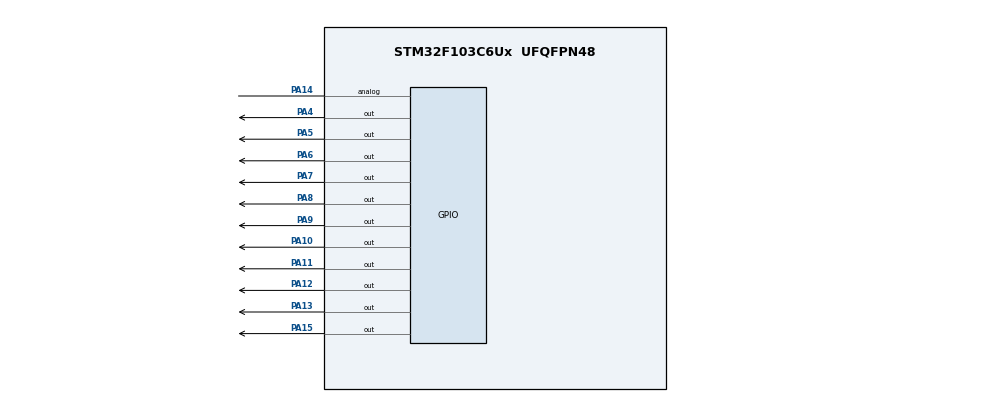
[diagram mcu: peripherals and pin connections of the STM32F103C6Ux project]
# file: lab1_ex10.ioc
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Mcu.Family=STM32F1
Mcu.Name=STM32F103C6Ux
Mcu.Package=UFQFPN48
NVIC.PriorityGroup=NVIC_PRIORITYGROUP_4
PA10.Signal=GPIO_Output
PA11.Signal=GPIO_Output
PA12.Signal=GPIO_Output
PA13.Signal=GPIO_Output
PA14.Signal=GPIO_Analog
PA15.Signal=GPIO_Output
PA4.Signal=GPIO_Output
PA5.Signal=GPIO_Output
PA6.Signal=GPIO_Output
PA7.Signal=GPIO_Output
PA8.Signal=GPIO_Output
PA9.Signal=GPIO_Output
ProjectManager.HeapSize=0x200
ProjectManager.StackSize=0x400
ProjectManager.TargetToolchain=STM32CubeIDE
RCC.APB1Freq_Value=8000000
RCC.APB2Freq_Value=8000000
VP_SYS_VS_ND.Mode=No_Debug
board=custom

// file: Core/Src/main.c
/* USER CODE BEGIN Header */
/**
  ******************************************************************************
  * @file           : main.c
  * @brief          : Main program body
  ******************************************************************************
  * @attention
  *
  * <h2><center>&copy; Copyright (c) 2023 STMicroelectronics.
  * All rights reserved.</center></h2>
  *
  * This software component is licensed by ST under BSD 3-Clause license,
  * the "License"; You may not use this file except in compliance with the
  * License. You may obtain a copy of the License at:
  *                        opensource.org/licenses/BSD-3-Clause
  *
  ******************************************************************************
  */
/* USER CODE END Header */
#include "main.h"

void SystemClock_Config(void);
static void MX_GPIO_Init(void);
void setNumberOnClock(int num);
void clearAllClock();

int main(void)
{

  /* MCU Configuration--------------------------------------------------------*/

  /* Reset of all peripherals, Initializes the Flash interface and the Systick. */
  HAL_Init();

  /* Configure the system clock */
  SystemClock_Config();

  /* Initialize all configured peripherals */
  MX_GPIO_Init();

  /* Infinite loop */
  /* USER CODE BEGIN WHILE */
  int second = 0;
  int minute = 0;
  int hour = 0;
  while (1)
  {
    /* USER CODE END WHILE */
	  clearAllClock();
	  setNumberOnClock(hour);
	  setNumberOnClock(minute);
	  setNumberOnClock(second/5);
	  second++;
	  if(second >= 60 && minute < 60 && hour < 11){
		  second = 0;
		  minute++;
	  }else if(minute >= 60 && hour < 11){
		  minute = 0;
		  hour++;
	  }else if(hour >= 11){
		  hour = 0;
		  minute = 0;
		  second = 0;
	  }
	  HAL_Delay(100);
  }
}

void SystemClock_Config(void)
{
  RCC_OscInitTypeDef RCC_OscInitStruct = {0};
  RCC_ClkInitTypeDef RCC_ClkInitStruct = {0};

  /** Initializes the RCC Oscillators according to the specified parameters
  * in the RCC_OscInitTypeDef structure.
  */
  RCC_OscInitStruct.OscillatorType = RCC_OSCILLATORTYPE_HSI;
  RCC_OscInitStruct.HSIState = RCC_HSI_ON;
  RCC_OscInitStruct.HSICalibrationValue = RCC_HSICALIBRATION_DEFAULT;
  RCC_OscInitStruct.PLL.PLLState = RCC_PLL_NONE;
  if (HAL_RCC_OscConfig(&RCC_OscInitStruct) != HAL_OK)
  {
    Error_Handler();
  }
  /** Initializes the CPU, AHB and APB buses clocks
  */
  RCC_ClkInitStruct.ClockType = RCC_CLOCKTYPE_HCLK|RCC_CLOCKTYPE_SYSCLK
                              |RCC_CLOCKTYPE_PCLK1|RCC_CLOCKTYPE_PCLK2;
  RCC_ClkInitStruct.SYSCLKSource = RCC_SYSCLKSOURCE_HSI;
  RCC_ClkInitStruct.AHBCLKDivider = RCC_SYSCLK_DIV1;
  RCC_ClkInitStruct.APB1CLKDivider = RCC_HCLK_DIV1;
  RCC_ClkInitStruct.APB2CLKDivider = RCC_HCLK_DIV1;

  if (HAL_RCC_ClockConfig(&RCC_ClkInitStruct, FLASH_LATENCY_0) != HAL_OK)
  {
    Error_Handler();
  }
}

static void MX_GPIO_Init(void)
{
  GPIO_InitTypeDef GPIO_InitStruct = {0};

  /* GPIO Ports Clock Enable */
  __HAL_RCC_GPIOA_CLK_ENABLE();

  /*Configure GPIO pin Output Level */
  HAL_GPIO_WritePin(GPIOA, GPIO_PIN_4|GPIO_PIN_5|GPIO_PIN_6|GPIO_PIN_7
                          |GPIO_PIN_8|GPIO_PIN_9|GPIO_PIN_10|GPIO_PIN_11
                          |GPIO_PIN_12|GPIO_PIN_13|GPIO_PIN_15, GPIO_PIN_RESET);

  /*Configure GPIO pins : PA4 PA5 PA6 PA7
                           PA8 PA9 PA10 PA11
                           PA12 PA13 PA15 */
  GPIO_InitStruct.Pin = GPIO_PIN_4|GPIO_PIN_5|GPIO_PIN_6|GPIO_PIN_7
                          |GPIO_PIN_8|GPIO_PIN_9|GPIO_PIN_10|GPIO_PIN_11
                          |GPIO_PIN_12|GPIO_PIN_13|GPIO_PIN_15;
  GPIO_InitStruct.Mode = GPIO_MODE_OUTPUT_PP;
  GPIO_InitStruct.Pull = GPIO_NOPULL;
  GPIO_InitStruct.Speed = GPIO_SPEED_FREQ_LOW;
  HAL_GPIO_Init(GPIOA, &GPIO_InitStruct);

  /*Configure GPIO pin : PA14 */
  GPIO_InitStruct.Pin = GPIO_PIN_14;
  GPIO_InitStruct.Mode = GPIO_MODE_ANALOG;
  HAL_GPIO_Init(GPIOA, &GPIO_InitStruct);

}

/* USER CODE BEGIN 4 */
void clearAllClock(){
	HAL_GPIO_WritePin(GPIOA, GPIO_PIN_4, SET);
	HAL_GPIO_WritePin(GPIOA, GPIO_PIN_5, SET);
	HAL_GPIO_WritePin(GPIOA, GPIO_PIN_6, SET);
	HAL_GPIO_WritePin(GPIOA, GPIO_PIN_7, SET);
	HAL_GPIO_WritePin(GPIOA, GPIO_PIN_8, SET);
	HAL_GPIO_WritePin(GPIOA, GPIO_PIN_9, SET);
	HAL_GPIO_WritePin(GPIOA, GPIO_PIN_10, SET);
	HAL_GPIO_WritePin(GPIOA, GPIO_PIN_11, SET);
	HAL_GPIO_WritePin(GPIOA, GPIO_PIN_12, SET);
	HAL_GPIO_WritePin(GPIOA, GPIO_PIN_13, SET);
	HAL_GPIO_WritePin(GPIOA, GPIO_PIN_14, SET);
	HAL_GPIO_WritePin(GPIOA, GPIO_PIN_15, SET);
}

void setNumberOnClock(int num){
	switch(num){
		case 0:
			HAL_GPIO_WritePin(GPIOA, GPIO_PIN_4, RESET);
			break;
		case 1:
			HAL_GPIO_WritePin(GPIOA, GPIO_PIN_5, RESET);
			break;
		case 2:
			HAL_GPIO_WritePin(GPIOA, GPIO_PIN_6, RESET);
			break;
		case 3:
			HAL_GPIO_WritePin(GPIOA, GPIO_PIN_7, RESET);
			break;
		case 4:
			HAL_GPIO_WritePin(GPIOA, GPIO_PIN_8, RESET);
			break;
		case 5:
			HAL_GPIO_WritePin(GPIOA, GPIO_PIN_9, RESET);
			break;
		case 6:
			HAL_GPIO_WritePin(GPIOA, GPIO_PIN_10, RESET);
			break;
		case 7:
			HAL_GPIO_WritePin(GPIOA, GPIO_PIN_11, RESET);
			break;
		case 8:
			HAL_GPIO_WritePin(GPIOA, GPIO_PIN_12, RESET);
			break;
		case 9:
			HAL_GPIO_WritePin(GPIOA, GPIO_PIN_13, RESET);
			break;
		case 10:
			HAL_GPIO_WritePin(GPIOA, GPIO_PIN_14, RESET);
			break;
		case 11:
			HAL_GPIO_WritePin(GPIOA, GPIO_PIN_15, RESET);
			break;
		default:
			break;
	}
}
/* USER CODE END 4 */

void Error_Handler(void)
{
  __disable_irq();
  while (1)
  {
  }
}

/************************ (C) COPYRIGHT STMicroelectronics *****END OF FILE****/
